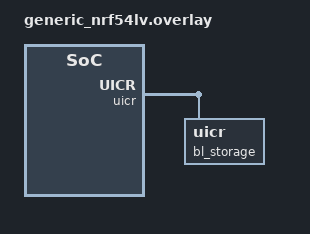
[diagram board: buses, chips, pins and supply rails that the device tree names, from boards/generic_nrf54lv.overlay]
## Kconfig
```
#
# Copyright (c) 2022 Nordic Semiconductor
#
# SPDX-License-Identifier: LicenseRef-Nordic-5-Clause
#

config TEST_IMMUTABLE_REGION
	int
	default 2 if (SOC_NRF54LS05A || SOC_NRF54LS05B)
	default 3

config TEST_ADDITIONAL_REGION
	int
	default 4

config TEST_B0_LOCK_READS
	bool "Test read prevention"
	help
	  Reads are disabled after writes has been disabled, therefore testing against reads
	  implies portion of the memory cannot be accessed at all.
	  In case this symbol isn't selected, tests against writes are performed.

config TEST_B0_LOCK_USE_S1
	bool "MCUBoot is running from S1 image for the test"

config TEST_MCUBOOT_ALONE
	bool "b0 absent"

config TEST_MCUBOOT_PROTECTED_REGION_SIZE
	hex "Expected MCUboot protected region size in bytes"
	default 0
	help
	  Expected size of the RRAMC region used to protect MCUboot.
	  A value of zero uses the MCUboot partition size.

config TEST_MCUBOOT_BOOTCONF_LOCK_WRITES
	bool "MCUboot uses bootconf.hex for immutable region"
	depends on TEST_MCUBOOT_ALONE
	help
	  The test expects BOOTCONF to use the immutable RRAMC region instead of
	  the additional region used by MCUboot self-RWX protection alone.

config TEST_MCUBOOT_REGION
	int
	depends on TEST_MCUBOOT_ALONE
	default TEST_IMMUTABLE_REGION if TEST_MCUBOOT_BOOTCONF_LOCK_WRITES
	default TEST_ADDITIONAL_REGION

menu "Zephyr"
source "Kconfig.zephyr"
endmenu
```

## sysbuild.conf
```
#
# Copyright (c) 2025 Nordic Semiconductor
#
# SPDX-License-Identifier: LicenseRef-Nordic-5-Clause
#

SB_CONFIG_SECURE_BOOT_APPCORE=y
SB_CONFIG_SECURE_BOOT_GENERATE_DEFAULT_KMU_KEYFILE=y
SB_CONFIG_SECURE_BOOT_BOOTCONF_LOCK_WRITES=y
```

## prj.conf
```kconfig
#
# Copyright (c) 2025 Nordic Semiconductor ASA
#
# SPDX-License-Identifier: LicenseRef-Nordic-5-Clause
#
CONFIG_ZTEST=y
CONFIG_ARM_MPU=n
# FLASH_MAP depends on FLASH_HAS_DRIVER_ENABLED. The test application enables no
# flash driver, so the flash map was never generated.
# CONFIG_FLASH_MAP=y
```

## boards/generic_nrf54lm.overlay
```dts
/*
 * Copyright (c) 2026 Nordic Semiconductor ASA
 *
 * SPDX-License-Identifier: LicenseRef-Nordic-5-Clause
 */

/* Control identifiers to define before inclusion, to indicate what
 * bootloaders are used with the project:
 * - TEST_WITH_B0 -- to enable B0 as bootloader
 * - TEST_WITH_MCUBOOT -- to enable MCUboot as primary or secondary
 *                        bootloader.
 *
 * Sysbuild images should define ONE of the below, before including
 * the overlay from this boards directory:
 *  - THIS_IS_B0_IMAGE -- indicates B0 overlay
 *  - THIS_IS_MCUBOOT_IMAGE -- indicates MCUboot image overlay
 *
 * Note that there is not APP indicating image, as it is default one.
 */

&cpuapp_rram {
	/delete-node/ partitions;

	partitions {
		#address-cells = <1>;
		#size-cells = <1>;

		boot_partition: b0_partition: partition@0 {
			compatible = "zephyr,mapped-partition";
			reg = <0x0 DT_SIZE_K(30)>;
		};

		a_partition: partition@8000 {
			compatible = "zephyr,mapped-partition";
			reg = <0x8000 DT_SIZE_K(40)>;
		};

		b_partition: partition@12000 {
			compatible = "zephyr,mapped-partition";
			reg = <0x12000 DT_SIZE_K(40)>;
		};

		c_partition: partition@1c000 {
			compatible = "zephyr,mapped-partition";
			reg = <0x1c000 DT_SIZE_K(960)>;
		};

		d_partition: partition@10c000 {
			compatible = "zephyr,mapped-partition";
			reg = <0x10c000 DT_SIZE_K(960)>;
		};
	};
};

#if defined(TEST_WITH_B0) && !defined(TEST_WITH_MCUBOOT)
/* With B0 and MCUboot there is b0 + s0 + s1 + slot0 + slot1 layout */
s0_partition: &c_partition {};
s1_partition: &d_partition {};
#elif defined(TEST_WITH_B0) && defined(TEST_WITH_MCUBOOT)
/* With B0 only there is b0 + s0 + s1 layout */
s0_partition: &a_partition {};
s1_partition: &b_partition {};
slot0_partition: &c_partition {};
slot1_partition: &d_partition {};
#elif !defined(TEST_WITH_B0) && defined(TEST_WITH_MCUBOOT)
boot_partition: &b0_partition {};
slot0_partition: &c_partition {};
slot1_partition: &d_partition {};
#endif

/ {
	chosen {
#if defined(THIS_IS_B0_IMAGE)
		zephyr,code-partition = &b0_partition;
#elif defined(TEST_WITH_B0) && \
      (!defined(TEST_WITH_MCUBOOT) && !defined(THIS_IS_B0_IMAGE) || \
       defined(TEST_WITH_MCUBOOT) && defined(THIS_IS_MCUBOOT_IMAGE))
/* Either MCUboot or application directly controlled by B0 */
		zephyr,code-partition = &s0_partition;
#elif defined(THIS_IS_MCUBOOT_IMAGE) && !defined(TEST_WITH_B0)
		zephyr,code-partition = &boot_partition;
#else /* This is application image */
		zephyr,code-partition = &slot0_partition;
#endif
	};
};
```

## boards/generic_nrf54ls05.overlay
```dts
/*
 * Copyright (c) 2026 Nordic Semiconductor ASA
 *
 * SPDX-License-Identifier: LicenseRef-Nordic-5-Clause
 */

/* Control identifiers to define before inclusion, to indicate what
 * bootloaders are used with the project:
 * - TEST_WITH_B0 -- to enable B0 as bootloader
 * - TEST_WITH_MCUBOOT -- to enable MCUboot as primary or secondary
 *                        bootloader.
 *
 * Sysbuild images should define ONE of the below, before including
 * the overlay from this boards directory:
 *  - THIS_IS_B0_IMAGE -- indicates B0 overlay
 *  - THIS_IS_MCUBOOT_IMAGE -- indicates MCUboot image overlay
 *
 * Note that there is not APP indicating image, as it is default one.
 */

&cpuapp_rram {
	/delete-node/ partitions;

	partitions {
		#address-cells = <1>;
		#size-cells = <1>;

		boot_partition: b0_partition: partition@0 {
			compatible = "zephyr,mapped-partition";
			reg = <0x0 DT_SIZE_K(88)>;
		};

		a_partition: partition@16000 {
			compatible = "zephyr,mapped-partition";
			reg = <0x16000 DT_SIZE_K(100)>;
		};

		b_partition: partition@2f000 {
			compatible = "zephyr,mapped-partition";
			reg = <0x2f000 DT_SIZE_K(100)>;
		};

		c_partition: partition@48000 {
			compatible = "zephyr,mapped-partition";
			reg = <0x48000 DT_SIZE_K(100)>;
		};

		d_partition: partition@61000 {
			compatible = "zephyr,mapped-partition";
			reg = <0x61000 DT_SIZE_K(100)>;
		};
	};
};

#if defined(TEST_WITH_B0) && !defined(TEST_WITH_MCUBOOT)
/* With B0 and MCUboot there is b0 + s0 + s1 + slot0 + slot1 layout */
s0_partition: &c_partition {};
s1_partition: &d_partition {};
#elif defined(TEST_WITH_B0) && defined(TEST_WITH_MCUBOOT)
/* With B0 only there is b0 + s0 + s1 layout */
s0_partition: &a_partition {};
s1_partition: &b_partition {};
slot0_partition: &c_partition {};
slot1_partition: &d_partition {};
#elif !defined(TEST_WITH_B0) && defined(TEST_WITH_MCUBOOT)
boot_partition: &b0_partition {};
slot0_partition: &c_partition {};
slot1_partition: &d_partition {};
#endif

/ {
	chosen {
#if defined(THIS_IS_B0_IMAGE)
		zephyr,code-partition = &b0_partition;
#elif defined(TEST_WITH_B0) && \
      (!defined(TEST_WITH_MCUBOOT) && !defined(THIS_IS_B0_IMAGE) || \
       defined(TEST_WITH_MCUBOOT) && defined(THIS_IS_MCUBOOT_IMAGE))
/* Either MCUboot or application directly controlled by B0 */
		zephyr,code-partition = &s0_partition;
#elif defined(THIS_IS_MCUBOOT_IMAGE) && !defined(TEST_WITH_B0)
		zephyr,code-partition = &boot_partition;
#else /* This is application image */
		zephyr,code-partition = &slot0_partition;
#endif
	};
};
```

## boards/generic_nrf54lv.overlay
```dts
/*
 * Copyright (c) 2026 Nordic Semiconductor ASA
 *
 * SPDX-License-Identifier: LicenseRef-Nordic-5-Clause
 */

/* Control identifiers to define before inclusion, to indicate what
 * bootloaders are used with the project:
 * - TEST_WITH_B0 -- to enable B0 as bootloader
 * - TEST_WITH_MCUBOOT -- to enable MCUboot as primary or secondary
 *                        bootloader.
 *
 * Sysbuild images should define ONE of the below, before including
 * the overlay from this boards directory:
 *  - THIS_IS_B0_IMAGE -- indicates B0 overlay
 *  - THIS_IS_MCUBOOT_IMAGE -- indicates MCUboot image overlay
 *
 * Note that there is not APP indicating image, as it is default one.
 */

&cpuapp_rram {
	/delete-node/ partitions;

	partitions {
		#address-cells = <1>;
		#size-cells = <1>;

		boot_partition: b0_partition: partition@0 {
			compatible = "zephyr,mapped-partition";
			reg = <0x0 DT_SIZE_K(30)>;
		};

		a_partition: partition@8000 {
			compatible = "zephyr,mapped-partition";
			reg = <0x8000 DT_SIZE_K(40)>;
		};

		b_partition: partition@12000 {
			compatible = "zephyr,mapped-partition";
			reg = <0x12000 DT_SIZE_K(40)>;
		};

		c_partition: partition@1c000 {
			compatible = "zephyr,mapped-partition";
			reg = <0x1c000 DT_SIZE_K(112)>;
		};

		d_partition: partition@38000 {
			compatible = "zephyr,mapped-partition";
			reg = <0x38000 DT_SIZE_K(112)>;
		};
	};
};

#if defined(TEST_WITH_B0) && !defined(TEST_WITH_MCUBOOT)
/* With B0 and MCUboot there is b0 + s0 + s1 + slot0 + slot1 layout */
s0_partition: &c_partition {};
s1_partition: &d_partition {};
#elif defined(TEST_WITH_B0) && defined(TEST_WITH_MCUBOOT)
/* With B0 only there is b0 + s0 + s1 layout */
s0_partition: &a_partition {};
s1_partition: &b_partition {};
slot0_partition: &c_partition {};
slot1_partition: &d_partition {};
#elif !defined(TEST_WITH_B0) && defined(TEST_WITH_MCUBOOT)
boot_partition: &b0_partition {};
slot0_partition: &c_partition {};
slot1_partition: &d_partition {};
#endif

/ {
	chosen {
#if defined(THIS_IS_B0_IMAGE)
		zephyr,code-partition = &b0_partition;
#elif defined(TEST_WITH_B0) && \
      (!defined(TEST_WITH_MCUBOOT) && !defined(THIS_IS_B0_IMAGE) || \
       defined(TEST_WITH_MCUBOOT) && defined(THIS_IS_MCUBOOT_IMAGE))
/* Either MCUboot or application directly controlled by B0 */
		zephyr,code-partition = &s0_partition;
#elif defined(THIS_IS_MCUBOOT_IMAGE) && !defined(TEST_WITH_B0)
		zephyr,code-partition = &boot_partition;
#else /* This is application image */
		zephyr,code-partition = &slot0_partition;
#endif
	};
};

/* Remove when added in common definitions */
&uicr {
	#address-cells = <1>;
	#size-cells = <1>;

	bl_storage: uicr@500 {
		reg = <0x500 0x460>;
	};
};
```

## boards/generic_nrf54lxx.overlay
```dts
/*
 * Copyright (c) 2026 Nordic Semiconductor ASA
 *
 * SPDX-License-Identifier: LicenseRef-Nordic-5-Clause
 */

/* Control identifiers to define before inclusion, to indicate what
 * bootloaders are used with the project:
 * - TEST_WITH_B0 -- to enable B0 as bootloader
 * - TEST_WITH_MCUBOOT -- to enable MCUboot as primary or secondary
 *                        bootloader.
 *
 * Sysbuild images should define ONE of the below, before including
 * the overlay from this boards directory:
 *  - THIS_IS_B0_IMAGE -- indicates B0 overlay
 *  - THIS_IS_MCUBOOT_IMAGE -- indicates MCUboot image overlay
 *
 * Note that there is not APP indicating image, as it is default one.
 */

&cpuapp_rram {
	/delete-node/ partitions;

	partitions {
		#address-cells = <1>;
		#size-cells = <1>;

		boot_partition: b0_partition: partition@0 {
			compatible = "zephyr,mapped-partition";
			reg = <0x0 DT_SIZE_K(30)>;
		};

		a_partition: partition@8000 {
			compatible = "zephyr,mapped-partition";
			reg = <0x8000 DT_SIZE_K(32)>;
		};

		b_partition: partition@10000 {
			compatible = "zephyr,mapped-partition";
			reg = <0x10000 DT_SIZE_K(32)>;
		};

		c_partition: partition@18000 {
			compatible = "zephyr,mapped-partition";
			reg = <0x18000 DT_SIZE_K(64)>;
		};

		d_partition: partition@28000 {
			compatible = "zephyr,mapped-partition";
			reg = <0x28000 DT_SIZE_K(64)>;
		};
	};
};

#if defined(TEST_WITH_B0) && !defined(TEST_WITH_MCUBOOT)
/* With B0 and MCUboot there is b0 + s0 + s1 + slot0 + slot1 layout */
s0_partition: &c_partition {};
s1_partition: &d_partition {};
#elif defined(TEST_WITH_B0) && defined(TEST_WITH_MCUBOOT)
/* With B0 only there is b0 + s0 + s1 layout */
s0_partition: &a_partition {};
s1_partition: &b_partition {};
slot0_partition: &c_partition {};
slot1_partition: &d_partition {};
#elif !defined(TEST_WITH_B0) && defined(TEST_WITH_MCUBOOT)
boot_partition: &b0_partition {};
slot0_partition: &c_partition {};
slot1_partition: &d_partition {};
#endif

/ {
	chosen {
#if defined(THIS_IS_B0_IMAGE)
		zephyr,code-partition = &b0_partition;
#elif defined(TEST_WITH_B0) && \
      (!defined(TEST_WITH_MCUBOOT) && !defined(THIS_IS_B0_IMAGE) || \
       defined(TEST_WITH_MCUBOOT) && defined(THIS_IS_MCUBOOT_IMAGE))
/* Either MCUboot or application directly controlled by B0 */
		zephyr,code-partition = &s0_partition;
#elif defined(THIS_IS_MCUBOOT_IMAGE) && !defined(TEST_WITH_B0)
		zephyr,code-partition = &boot_partition;
#else /* This is application image */
		zephyr,code-partition = &slot0_partition;
#endif
	};
};
```

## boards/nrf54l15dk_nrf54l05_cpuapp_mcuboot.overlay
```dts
/*
 * Copyright (c) 2026 Nordic Semiconductor ASA
 *
 * SPDX-License-Identifier: LicenseRef-Nordic-5-Clause
 */

#include "nrf54l15dk_nrf54l15_cpuapp_mcuboot.overlay"
```

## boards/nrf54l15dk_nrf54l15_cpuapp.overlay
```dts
/*
 * Copyright (c) 2026 Nordic Semiconductor ASA
 *
 * SPDX-License-Identifier: LicenseRef-Nordic-5-Clause
 */

&cpuapp_rram {
	/delete-node/ partitions;

	partitions {
		ranges;
		#address-cells = <1>;
		#size-cells = <1>;

		/* In this configuration NSIBI protects itself only.
		 * On nrf54l15 it can lock up to 31k of continuous regions.
		 * That is why the partition is sized at 31k.
		 * Alignment of next partition still set at the 4k boundaries,
		 * as that is the alignemnt Flash API will report for RRAM.
		 */
		b0_partition: partition@0 {
			compatible = "zephyr,mapped-partition";
			reg = <0x0 DT_SIZE_K(31)>;
		};

		s0_partition: partition@8000 {
			compatible = "zephyr,mapped-partition";
			reg = <0x8000 DT_SIZE_K(128)>;
		};

		s1_partition: partition@28000 {
			compatible = "zephyr,mapped-partition";
			reg = <0x28000 DT_SIZE_K(128)>;
		};
	};
};

/ {
	chosen {
		zephyr,code-partition = &s0_partition;
	};
};
```

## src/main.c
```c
/*
 * Copyright (c) 2025 Nordic Semiconductor ASA
 *
 * SPDX-License-Identifier: LicenseRef-Nordic-5-Clause
 */

#include <zephyr/ztest.h>
#include <hal/nrf_rramc.h>
#include <nrfx_rramc.h>

#include <zephyr/storage/flash_map.h>
#define RWX_SKIP_SIZE           CONFIG_SB_IMAGE_BOOT_OFFSET

#if defined(CONFIG_TEST_MCUBOOT_ALONE)
#if CONFIG_TEST_MCUBOOT_PROTECTED_REGION_SIZE
	#define RRAMC_REGION_FOR_TEST_SIZE   CONFIG_TEST_MCUBOOT_PROTECTED_REGION_SIZE
#else
	#define RRAMC_REGION_FOR_TEST_SIZE   PARTITION_SIZE(boot_partition)
#endif
	#define RRAM_REGION_FOR_TEST_ADDRESS PARTITION_OFFSET(boot_partition)
	#define RRAMC_REGION_FOR_TEST CONFIG_TEST_MCUBOOT_REGION
#elif defined(CONFIG_TEST_B0_LOCK_USE_S1)
	#define RRAMC_REGION_FOR_TEST_SIZE   (PARTITION_SIZE(s1_partition) - RWX_SKIP_SIZE)
	#define RRAM_REGION_FOR_TEST_ADDRESS (PARTITION_OFFSET(s1_partition) + RWX_SKIP_SIZE)
	#define RRAMC_REGION_FOR_TEST CONFIG_TEST_ADDITIONAL_REGION
#elif defined(CONFIG_BOOTLOADER_MCUBOOT)
	#define RRAMC_REGION_FOR_TEST_SIZE   (PARTITION_SIZE(s0_partition) - RWX_SKIP_SIZE)
	#define RRAM_REGION_FOR_TEST_ADDRESS (PARTITION_OFFSET(s0_partition) + RWX_SKIP_SIZE)
	#define RRAMC_REGION_FOR_TEST CONFIG_TEST_ADDITIONAL_REGION
#else
	#define RRAMC_REGION_FOR_TEST_SIZE   PARTITION_SIZE(b0_partition)
	#define RRAM_REGION_FOR_TEST_ADDRESS PARTITION_OFFSET(b0_partition)
	#define RRAMC_REGION_FOR_TEST CONFIG_TEST_IMMUTABLE_REGION
#endif

static uint32_t expected_fatal;
static uint32_t actual_fatal;
static nrf_rramc_region_config_t config;

void k_sys_fatal_error_handler(unsigned int reason, const struct arch_esf *pEsf)
{
	printk("Caught system error -- reason %d\n", reason);
	actual_fatal++;
}

void check_fatal(void *unused)
{
	zassert_equal(expected_fatal, actual_fatal,
		"Wrong number of fatal errors has occurred (e:%d != a:%d).",
		expected_fatal, actual_fatal);
}

void *get_config(void)
{
	nrf_rramc_region_config_get(NRF_RRAMC,
			RRAMC_REGION_FOR_TEST,
			&config);
#if defined(CONFIG_TEST_B0_LOCK_READS)
	zassert_equal(0, config.permissions &
			(NRF_RRAMC_REGION_PERM_READ_MASK |
			 NRF_RRAMC_REGION_PERM_WRITE_MASK |
			 NRF_RRAMC_REGION_PERM_EXECUTE_MASK),
			"Read Write and eXecute permissions aren't cleared");
#else
	zassert_equal(0, config.permissions &
			(NRF_RRAMC_REGION_PERM_WRITE_MASK),
			"Write permission isn't cleared");
#endif
	zassert_equal(config.size_kb, RRAMC_REGION_FOR_TEST_SIZE / 1024,
		      "Protected region size doesn't match expected size.");
	zassert_equal(
		config.address, RRAM_REGION_FOR_TEST_ADDRESS,
		"Protected region start address doesn't match protected partition start address.");
	return NULL;
}

ZTEST(b0_self_lock_test, test_rwx_locked_region)
{
	printk("Region %d\n", RRAMC_REGION_FOR_TEST);
	uint32_t protected_end_address = config.address + (1024 * config.size_kb);
	volatile uint32_t *unprotected_word = (volatile uint32_t *)protected_end_address;
	volatile uint32_t *protected_word =
		(volatile uint32_t *)protected_end_address - sizeof(uint32_t);
	uint32_t original_config = nrf_rramc_region_config_raw_get(NRF_RRAMC,
								   RRAMC_REGION_FOR_TEST);
	uint32_t updated_config = 0xFFFFFFFF;

	config.permissions = NRF_RRAMC_REGION_PERM_READ_MASK |
			     NRF_RRAMC_REGION_PERM_WRITE_MASK |
			     NRF_RRAMC_REGION_PERM_EXECUTE_MASK;
	/* Try unlocking. This should take no effect at this point */
	nrf_rramc_region_config_set(NRF_RRAMC, RRAMC_REGION_FOR_TEST, &config);

	updated_config = nrf_rramc_region_config_raw_get(NRF_RRAMC, RRAMC_REGION_FOR_TEST);
	zassert_equal(updated_config, original_config,
		"Managed to update the locked config.");

#if defined(CONFIG_TEST_B0_LOCK_READS)
	printk("Legal read\n");
	int val = *unprotected_word;

	printk("Illegal read\n");
	expected_fatal++;
	__DSB();
	val = *protected_word;
#else
	uint32_t test_value = ~(*unprotected_word);

	printk("Legal write\n");
	nrfx_rramc_write_enable_set(true, 0);
	/* Next line corrupts application header.
	 * It is ok since we need to run test once per flashing.
	 */
	nrf_rramc_word_write((uint32_t)unprotected_word, test_value);
	zassert_equal(test_value, *unprotected_word,
			"Legal write value doesn't match.");
	printk("Illegal write\n");
	expected_fatal++;
	__DSB();
	nrf_rramc_word_write((uint32_t)protected_word, test_value);
#endif

}

ZTEST_SUITE(b0_self_lock_test, NULL, get_config, NULL, check_fatal, NULL);
```
